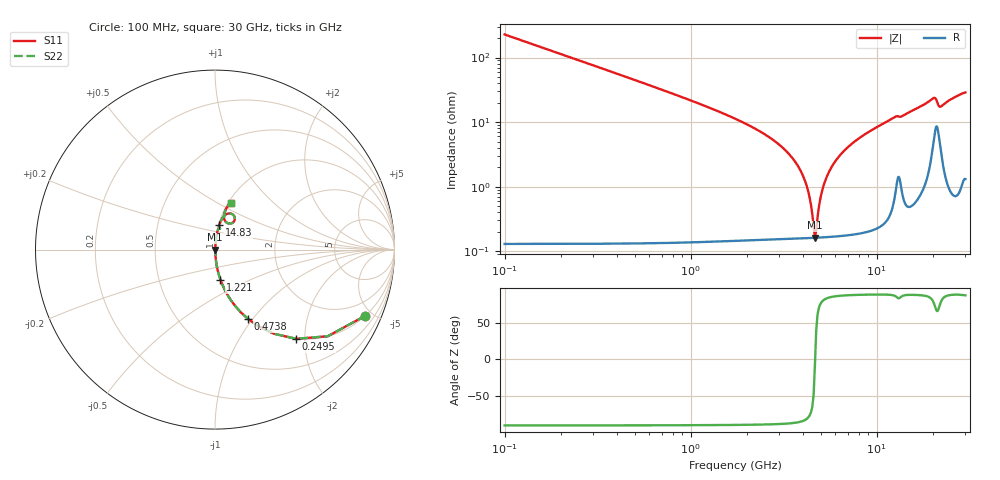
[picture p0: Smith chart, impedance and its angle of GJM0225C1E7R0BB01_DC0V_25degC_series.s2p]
!Murata Part Number: GJM0225C1E7R0BB01
!These Parameters are Measured in Series Mode Connection
!  o--ll--o
!Port1  Port2
!  o------o
!Operation Temp=25[degC], DC Bias Voltage=0[V]
!Freq. Start=100[MHz] Stop=30[GHz], 401[Steps]
!Data Generated on Feb 1, 2023
# Hz S RI R 50
!Freq.(Hz) S11(Real) S11(Imag) S21(Real) S21(Imag) S12(Real) S12(Imag) S22(Real) S22(Imag)
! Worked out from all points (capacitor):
!   401 points, 100 MHz to 30 GHz, reference 50 ohm
!   read as one part in series: C = 7 pF near 249.5 MHz
!   lowest |Z| = 163 mohm at 4.66 GHz (marker M1)
!   series resonance near 4.669 GHz, so ESL is about 170 pH
!   S11 on the Smith chart (normalised r, x): 100 MHz: 1.00, -4.55; 249.5 MHz: 1.00, -1.82; 473.8 MHz: 1.00, -0.95; 1.221 GHz: 1.00, -0.35; 14.83 GHz: 1.01, +0.28; 30 GHz: 1.03, +0.57
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1e8  0.8376 -0.3685  0.1624 0.3685  0.1624 0.3685  0.8376 -0.3685
2.495e8  0.4523 -0.497  0.5477 0.497  0.5477 0.497  0.4523 -0.497
4.7375e8  0.1847 -0.3867  0.8153 0.3867  0.8153 0.3867  0.1847 -0.3867
7.7275e8  0.0767 -0.2638  0.9233 0.2638  0.9233 0.2638  0.0767 -0.2638
1.22125e9  0.0305 -0.1679  0.9695 0.1679  0.9695 0.1679  0.0305 -0.1679
3.09e9  0.00324 -0.0412  0.9968 0.0412  0.9968 0.0412  0.00324 -0.0412
3.76275e9  0.00202 -0.0211  0.998 0.0211  0.998 0.0211  0.00202 -0.0211
4.21125e9  0.0017 -0.01  0.9983 0.01  0.9983 0.01  0.0017 -0.01
4.585e9  0.00162 -0.00176  0.9984 0.00176  0.9984 0.00176  0.00162 -0.00176
4.65975e9  0.00162 -0.000188  0.9984 0.000188  0.9984 0.000188  0.00162 -0.000188
4.80925e9  0.00163 0.00288  0.9984 -0.00288  0.9984 -0.00288  0.00163 0.00288
5.10825e9  0.00172 0.00877  0.9983 -0.00877  0.9983 -0.00877  0.00172 0.00877
5.70625e9  0.00206 0.0197  0.9979 -0.0197  0.9979 -0.0197  0.00206 0.0197
6.60325e9  0.00293 0.0345  0.9971 -0.0345  0.9971 -0.0345  0.00293 0.0345
8.0235e9  0.00497 0.0555  0.995 -0.0555  0.995 -0.0555  0.00497 0.0555
1.01165e10  0.00937 0.0838  0.9906 -0.0838  0.9906 -0.0838  0.00937 0.0838
1.482575e10  0.0238 0.1362  0.9762 -0.1362  0.9762 -0.1362  0.0238 0.1362
1.505e10  0.0247 0.1392  0.9753 -0.1392  0.9753 -0.1392  0.0247 0.1392
2.005825e10  0.0842 0.2014  0.9158 -0.2014  0.9158 -0.2014  0.0842 0.2014
2.185225e10  0.0687 0.1482  0.9313 -0.1482  0.9313 -0.1482  0.0687 0.1482
2.50665e10  0.0552 0.2109  0.9448 -0.2109  0.9448 -0.2109  0.0552 0.2109
3e10  0.0864 0.259  0.9136 -0.259  0.9136 -0.259  0.0864 0.259
